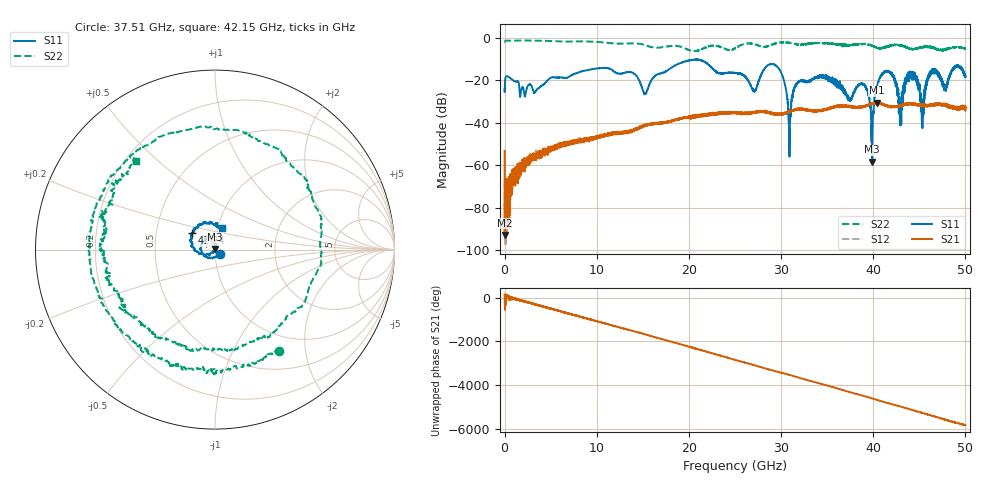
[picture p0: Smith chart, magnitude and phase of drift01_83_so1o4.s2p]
!Created with skrf (http://scikit-rf.org).
# Hz S RI R 50.0
!freq ReS11 ImS11 ReS21 ImS21 ReS12 ImS12 ReS22 ImS22
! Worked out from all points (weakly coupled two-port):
!   10001 points, 300 kHz to 50 GHz, reference 50 ohm
!   highest |S21| = -30.60 dB at 40.4 GHz (marker M1); lowest = -92.7 dB at 15.3 MHz (marker M2)
!   lowest |S11| = -58.4 dB at 39.89 GHz (marker M3), VSWR 1.00, Z = 50 + j0.118 ohm
!   |S11| at or under -10 dB: start of sweep to end of sweep
!   |S22| runs from -6.4 to -1.3 dB; largest |S21 - S12| = 0.0055
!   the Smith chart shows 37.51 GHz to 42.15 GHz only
!   S11 on the Smith chart (normalised r, x): 37.51 GHz: 1.05, -0.05; 41.24 GHz: 0.76, +0.15; 42.15 GHz: 1.05, +0.26
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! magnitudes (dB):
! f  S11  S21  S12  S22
! 300 kHz  -24.1  -53.2  -67.8  -2.1
! 15.3 MHz  -24.5  -92.7  -77.5  -2.0
! 255.3 MHz  -18.1  -72.4  -74.6  -1.4
! 8.335 GHz  -15.9  -48.5  -48.1  -1.8
! 16.67 GHz  -17.1  -40.2  -40.3  -4.8
! 25 GHz  -16.5  -35.5  -35.3  -5.0
! 27.09 GHz  -25.1  -35.1  -35.0  -3.0
! 29.45 GHz  -13.2  -36.0  -35.7  -2.7
! 30.92 GHz  -52.9  -34.9  -34.9  -2.5
! 33.34 GHz  -19.8  -34.4  -34.5  -2.7
! 37.51 GHz  -29.2  -32.5  -32.4  -3.5
! 38.99 GHz  -22.1  -32.3  -32.4  -3.0
! 39.89 GHz  -58.4  -31.1  -31.1  -3.8
! 40.4 GHz  -23.2  -30.6  -30.8  -4.9
! 41.24 GHz  -16.0  -31.6  -31.7  -4.6
! 41.67 GHz  -15.7  -32.4  -32.4  -3.9
! 42.15 GHz  -17.8  -32.5  -32.5  -3.6
! 42.99 GHz  -31.6  -31.9  -32.0  -3.5
! 43.96 GHz  -17.4  -31.2  -31.1  -5.2
! 45.31 GHz  -37.5  -32.0  -32.0  -4.3
! 46.42 GHz  -15.3  -31.7  -31.8  -4.9
! 50 GHz  -17.7  -32.8  -33.1  -5.2
